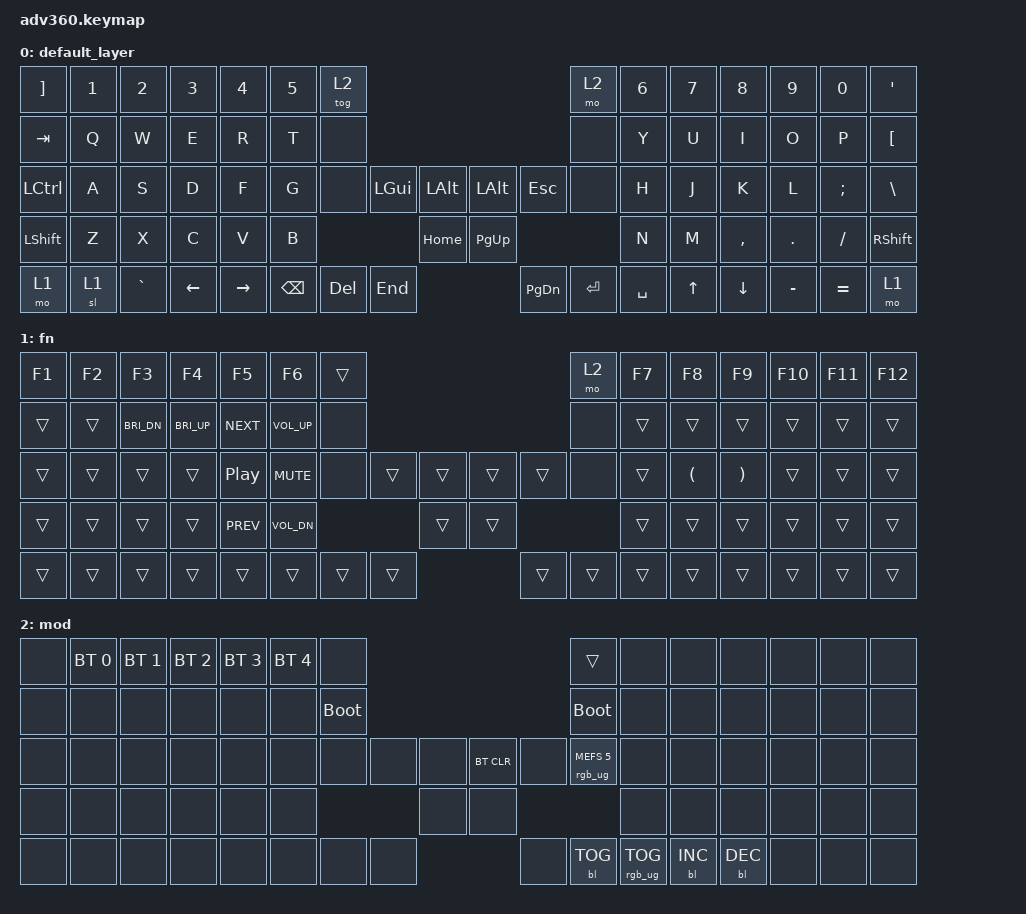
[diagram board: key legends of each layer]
#include <behaviors.dtsi>
#include <dt-bindings/zmk/keys.h>
#include <dt-bindings/zmk/bt.h>
#include <dt-bindings/zmk/rgb.h>
#include <dt-bindings/zmk/backlight.h>


/* Sticky layer */
&sl {
   release-after-ms = <2000>;
};

&mt {
   retro-tap;
};


// Make CAPS act like LCTRL modifier or ESC when retro-tap
#define MCTRL &mt LCTRL ESC

#define KKEY &mo 2
#define AKEY &tog 2

/ {
    behaviors {
      #include "macros.dtsi"

      hm: homerow_mods {
          compatible = "zmk,behavior-hold-tap";
          label = "HOMEROW_MODS";
          #binding-cells = <2>;
          tapping-term-ms = <200>;
          quick_tap_ms = <175>;
          flavor = "tap-preferred";
          bindings = <&kp>, <&kp>;
      };
    };

  keymap {
    compatible = "zmk,keymap";

    // This layer is for mac, with dvorak key layout, but with an ANSI keyboard layout (so shift+0 is right-parens).
    default_layer {
      bindings = <
        &kp RBKT  &kp N1    &kp N2   &kp N3   &kp N4     &kp N5 AKEY                                                             KKEY  &kp N6 &kp N7 &kp N8    &kp N9   &kp N0   &kp SQT
        &kp TAB   &kp Q     &kp W    &kp E    &kp R      &kp T  &none                                                            &none &kp Y  &kp U  &kp I     &kp O    &kp P    &kp LBKT
        &kp LCTRL &kp A     &kp S    &kp D    &kp F      &kp G  &none           &kp LGUI  &kp LALT &kp LALT   &kp ESC            &none &kp H  &kp J  &kp K     &kp L    &kp SEMI &kp BSLH
        &kp LSHFT &kp Z     &kp X    &kp C    &kp V      &kp B                            &kp HOME &kp PG_UP                           &kp N  &kp M  &kp COMMA &kp DOT  &kp FSLH &kp RSHFT
        &mo 1     &sl 1     &kp GRAVE &kp LEFT &kp RIGHT               &kp BSPC &kp DEL   &kp END  &kp PG_DN &kp ENTER &kp SPACE              &kp UP &kp DOWN  &kp MINUS &kp EQUAL &mo 1
      >;
    };
    fn {
      bindings = <
        &kp F1 &kp F2 &kp F3 &kp F4 &kp F5 &kp F6 &trans                                                                        KKEY  &kp F7 &kp F8 &kp F9 &kp F10 &kp F11 &kp F12
        &trans &trans &kp C_BRI_DN   &kp C_BRI_UP &kp C_NEXT       &kp C_VOL_UP &none                                           &none &trans &trans &trans &trans  &trans  &trans
        &trans &trans &trans         &trans       &kp C_PLAY_PAUSE &kp C_MUTE   &none        &trans &trans &trans &trans        &none &trans &kp LPAR &kp RPAR &trans  &trans  &trans
        &trans &trans &trans         &trans       &kp C_PREV       &kp C_VOL_DN                     &trans &trans                     &trans &trans &trans &trans  &trans  &trans
        &trans &trans &trans         &trans       &trans                              &trans &trans &trans &trans &trans &trans              &trans &trans &trans  &trans  &trans
      >;
    };
    mod {
      bindings = <
        &none &bt BT_SEL 0 &bt BT_SEL 1 &bt BT_SEL 2 &bt BT_SEL 3 &bt BT_SEL 4 &none                                                                     &trans                 &none        &none        &none        &none &none &none
        &none &none        &none        &none        &none        &none        &bootloader                                                               &bootloader            &none        &none        &none        &none &none &none
        &none &none        &none        &none        &none        &none        &none                   &none &none &bt BT_CLR &none                      &rgb_ug RGB_MEFS_CMD 5 &none        &none        &none        &none &none &none
        &none &none        &none        &none        &none        &none                                      &none &none                                                        &none        &none        &none        &none &none &none
        &none &none        &none        &none        &none                                       &none &none &none &none      &bl BL_TOG &rgb_ug RGB_TOG                                     &bl BL_INC   &bl BL_DEC   &none &none &none
      >;
    };
  };
};
